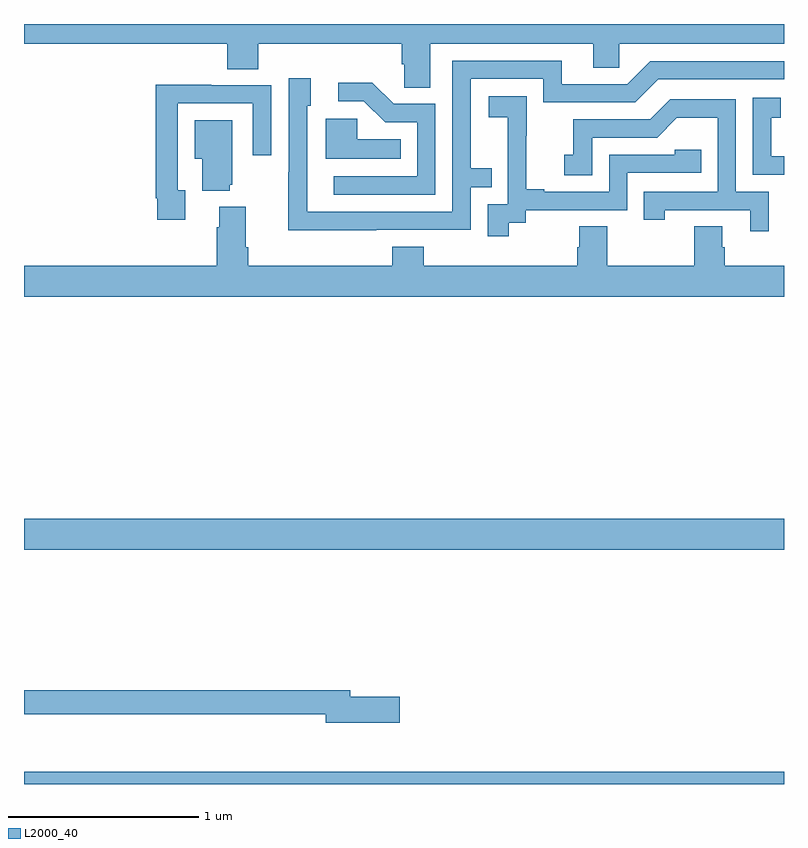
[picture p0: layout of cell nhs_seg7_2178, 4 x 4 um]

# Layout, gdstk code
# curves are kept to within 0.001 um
import gdstk
lib = gdstk.Library(unit=1e-6, precision=1e-09)
def R(c, l, rs):  # rectangles x0, y0, x1, y1
    for r in rs: c.add(gdstk.rectangle(r[:2], r[2:], *l))
def P(c, l, *ps):  # polygons
    for p in ps: c.add(gdstk.Polygon(p, *l))
L2000_40 = (2000, 40)

nhs_seg7_2178 = lib.new_cell('nhs_seg7_2178')
R(nhs_seg7_2178, L2000_40, [(253,1050,257,1050.064), (253,1051.232,257,1051.396)])
P(nhs_seg7_2178, L2000_40, [(255.139,1053.896),(255.995,1053.896),(255.995,1053.769),(256.134,1053.769),(256.134,1053.896),(257,1053.896),(257,1054),(253,1054),(253,1053.896),(254.069,1053.896),(254.069,1053.763),(254.234,1053.763),(254.234,1053.896),(254.987,1053.896),(254.987,1053.787),(255,1053.787),(255,1053.664),(255.139,1053.664)],
  [(254.855,1052.916),(255.351,1052.916),(255.351,1053.141),(255.461,1053.141),(255.461,1053.242),(255.351,1053.242),(255.351,1053.711),(255.732,1053.711),(255.732,1053.588),(256.218,1053.588),(256.338,1053.708),(257,1053.708),(257,1053.804),(256.296,1053.804),(256.176,1053.684),(255.829,1053.684),(255.829,1053.807),(255.255,1053.807),(255.255,1053.012),(254.491,1053.012),(254.49,1053.57),(254.509,1053.57),(254.509,1053.715),(254.394,1053.715),(254.394,1053.221),(254.392,1053.221),(254.392,1052.915)],
  [(255.165,1053.579),(254.946,1053.579),(254.833,1053.692),(254.655,1053.692),(254.655,1053.594),(254.789,1053.594),(254.9,1053.483),(255.069,1053.483),(255.069,1053.198),(254.631,1053.198),(254.631,1053.102),(255.165,1053.102)],
  [(253.849,1053.126),(253.809,1053.126),(253.809,1053.582),(254.205,1053.582),(254.205,1053.309),(254.301,1053.309),(254.301,1053.678),(253.985,1053.678),(253.985,1053.68),(253.693,1053.68),(253.693,1053.082),(253.701,1053.082),(253.701,1052.97),(253.849,1052.97)],
  [(255.55,1052.953),(255.642,1052.953),(255.642,1053.021),(256.176,1053.021),(256.176,1053.216),(256.565,1053.216),(256.565,1053.339),(256.425,1053.339),(256.425,1053.312),(256.08,1053.312),(256.08,1053.117),(255.739,1053.117),(255.739,1053.13),(255.644,1053.13),(255.644,1053.413),(255.645,1053.413),(255.645,1053.619),(255.447,1053.619),(255.447,1053.509),(255.545,1053.509),(255.545,1053.281),(255.546,1053.281),(255.546,1053.051),(255.441,1053.051),(255.441,1052.883),(255.55,1052.883)],
  [(257,1053.303),(256.933,1053.303),(256.933,1053.507),(256.982,1053.507),(256.982,1053.613),(256.836,1053.613),(256.836,1053.207),(257,1053.207)],
  [(256.92,1053.117),(256.746,1053.117),(256.746,1053.603),(256.4,1053.603),(256.295,1053.498),(255.892,1053.498),(255.892,1053.313),(255.843,1053.313),(255.843,1053.204),(255.99,1053.204),(255.99,1053.402),(256.332,1053.402),(256.436,1053.506),(256.65,1053.506),(256.65,1053.117),(256.261,1053.117),(256.261,1052.97),(256.372,1052.97),(256.372,1053.021),(256.823,1053.021),(256.823,1052.91),(256.92,1052.91)],
  [(254.984,1053.394),(254.754,1053.394),(254.754,1053.502),(254.588,1053.502),(254.588,1053.29),(254.984,1053.29)],
  [(254.084,1053.153),(254.095,1053.153),(254.095,1053.493),(253.898,1053.493),(253.898,1053.29),(253.937,1053.29),(253.937,1053.122),(254.084,1053.122)],
  [(257,1052.728),(256.688,1052.728),(256.688,1052.826),(256.675,1052.826),(256.675,1052.936),(256.528,1052.936),(256.528,1052.728),(256.071,1052.728),(256.071,1052.936),(255.923,1052.936),(255.923,1052.826),(255.911,1052.826),(255.911,1052.728),(255.104,1052.728),(255.104,1052.827),(254.939,1052.827),(254.939,1052.728),(254.18,1052.728),(254.18,1052.824),(254.167,1052.824),(254.167,1053.037),(254.027,1053.037),(254.027,1052.93),(254.015,1052.93),(254.015,1052.728),(253,1052.728),(253,1052.564),(257,1052.564)],
  [(254.977,1050.458),(254.716,1050.458),(254.716,1050.494),(253,1050.494),(253,1050.366),(254.588,1050.366),(254.588,1050.323),(254.977,1050.323)])

lib.write_gds('nhs_seg7_2178.gds')
